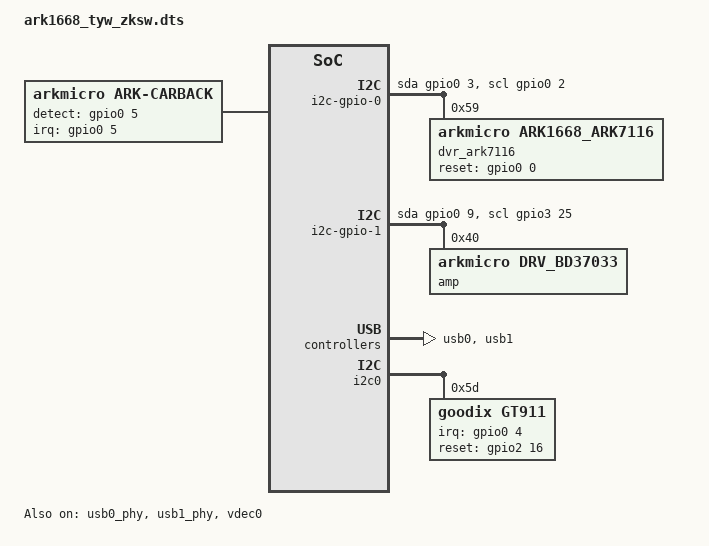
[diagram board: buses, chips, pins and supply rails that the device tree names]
// SPDX-License-Identifier: GPL-2.0
/dts-v1/;
#include "ark1668.dtsi"
#include "ark1668-pinctrl.dtsi"
#include <dt-bindings/gpio/gpio.h>

//#define I2S_CODEC

/ {
    carback: carback@0 {
        compatible = "arkmicro,ark-carback";
        interrupt-parent = <&gpio0>;
        interrupts = <5 IRQ_TYPE_EDGE_BOTH>;
        detect-gpios = <&gpio0 5 GPIO_ACTIVE_HIGH>;
        debounce-detect = <20>;
		//status = "disabled";
    };

	mcu_serial: mcu-serial@0 {
		compatible = "arkmicro,ark-mcu-serial";
	};
	
	tool_serial: tool-serial@0 {
		compatible = "arkmicro,ark-tool-serial";
	};
	
	i2c-gpio-0 {
		#address-cells = <1>;
		#size-cells = <0>;
		compatible = "i2c-gpio";
		gpios = <&gpio0 3 0		/* SDA */
			&gpio0 2 0		/* SCL */
		>;
		i2c-gpio,delay-us = <6>;	/* clk freq = 500/delay KHz */
		i2c-gpio,scl-output-only;
		//i2c-gpio,sda-open-drain;
		//i2c-gpio,scl-open-drain;

		dvr_ark7116: dvr_ark7116@B2 {
			compatible = "arkmicro,ark1668_ark7116";
			reset-gpio = <&gpio0 0 0>;
			reg = <0x59>; /* i2c address(7 bits) */
			//default-channel = <0>;
			carback-config = <1>;
			/*port{
                        ark7116: endpoint@0{
                                remote-endpoint = <&ark656>;
                                };
                        };*/

		};
	};

	i2c-gpio-1 {
		#address-cells = <1>;
		#size-cells = <0>;
		compatible = "i2c-gpio";
		gpios = <&gpio0 9 0		/* SDA */
			&gpio3 25 0		/* SCL */
		>;
		i2c-gpio,delay-us = <6>;	/* clk freq = 500/delay KHz */
		i2c-gpio,scl-output-only;
		//i2c-gpio,sda-open-drain;
		//i2c-gpio,scl-open-drain;

		amp:drv_bd37033@40{
				status = "okay";
				compatible = "arkmicro,drv_bd37033";
				reg = <0x40>;		/* i2c address(7 bit)*/
				flout-gain = <65>;	/*min = 0 ;max = 95*/
				frout-gain = <65>;	/*min = 0 ;max = 95*/
				rlout-gain = <65>;	/*min = 0 ;max = 95*/
				rrout-gain = <65>;	/*min = 0 ;max = 95*/
				#sound-dai-cells = <0>;
		};

	};

	sound {
		compatible = "simple-audio-card";
		simple-audio-card,format = "i2s";
		simple-audio-card,name = "ark1668-audio";

		simple-audio-card,dai-link@0 {		/* I2S - dac */
			cpu {
				sound-dai = <&i2s_adc>;
			};
			codec {
				sound-dai = <&sdadc>;
			};
		};
		simple-audio-card,dai-link@1 {		/* I2S - adc */
			bitclock-master = <&playback_cpu>;
			frame-master = <&playback_cpu>;
			playback_cpu: cpu {
				sound-dai = <&i2s_dac>;
			};
			playback_codec: codec {
				sound-dai = <&sddac>;
			};
		};
	};
};

&usb0_phy {
    compatible = "usb-nop-xceiv";
    #phy-cells = <0>;
    status = "okay";
};

&usb1_phy {
    compatible = "usb-nop-xceiv";
    #phy-cells = <0>;
    status = "okay";
};

&usb0 {
     status = "okay";
};

&usb1 {
     status = "okay";
};

&uart0 {
	use-in-kernel;
	use-for-tool;
};

&uart1 {
	status = "disabled";
};

&uart3 {
	use-in-kernel;
	use-for-mcu;
};

&lcdc {
	display = <&display0>;
	pinctrl-names = "default";
	pinctrl-0 = <&pinctrl_lcd_base &pinctrl_lcd_rgb888>;

	display0: display@0 {
		interface-type = "TTL";
		lvds-con = <0x160fd>;
		bits-per-pixel = <32>;
		power-control-gpio = <&gpio2 17 GPIO_ACTIVE_HIGH>;
		lcd-wiring-mode = "BGR";
		lcdcon-backlight;
		pwms = <&pwm0 1 50000>;
		pwm-names = "backlight";
		backlight-value = <20>;
		backlight-delay = <200>;

		display-timings {
			native-mode = <&timing0>;
			timing0: timing0 {
				clock-frequency = <33000000>;
				hactive = <800>;
				vactive = <480>;
				hback-porch = <16>;
				hfront-porch = <210>;
				vback-porch = <12>;
				vfront-porch = <22>;
				hsync-len = <30>;
				vsync-len = <13>;
				hsync-active = <1>;
				vsync-active = <1>;
				de-active = <0>;
				pixelclk-active = <0>;
			};
		};
	};
};

&vdec0 {
     status = "okay";
};

&i2c0 {
	gt911: touchscreen@5d {
		compatible = "goodix,gt911";
		reg = <0x5d>;
		interrupt-parent = <&gpio0>;
		interrupts = <4 IRQ_TYPE_EDGE_FALLING>;
		irq-gpios = <&gpio0 4 GPIO_ACTIVE_HIGH>;
		reset-gpios = <&gpio2 16 GPIO_ACTIVE_HIGH>;
		touchscreen-inverted-x;
	};
};
